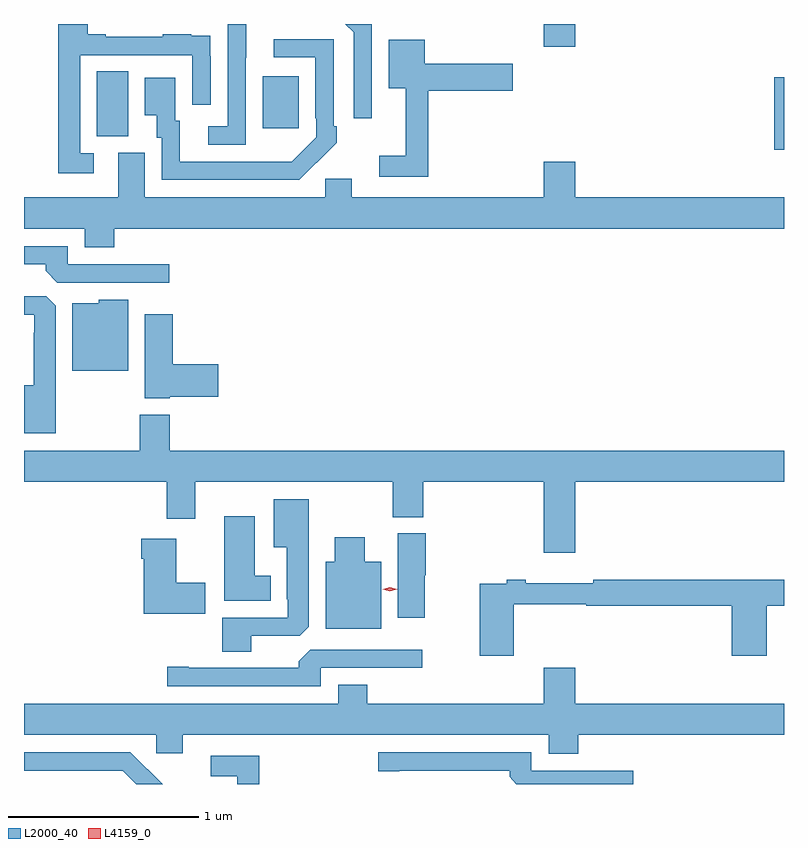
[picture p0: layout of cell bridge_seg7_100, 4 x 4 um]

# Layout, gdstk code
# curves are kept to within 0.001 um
import gdstk
lib = gdstk.Library(unit=1e-6, precision=1e-09)
def R(c, l, rs):  # rectangles x0, y0, x1, y1
    for r in rs: c.add(gdstk.rectangle(r[:2], r[2:], *l))
def P(c, l, *ps):  # polygons
    for p in ps: c.add(gdstk.Polygon(p, *l))
L2000_40 = (2000, 40)
L4159_0 = (4159, 0)

bridge_seg7_100 = lib.new_cell('bridge_seg7_100')
R(bridge_seg7_100, L2000_40, [(1089.296,1014.351,1089.348,1014.732), (1085.732,1014.421,1085.896,1014.764), (1086.605,1014.465,1086.793,1014.739), (1088.084,1014.894,1088.248,1015.013)])
P(bridge_seg7_100, L2000_40, [(1087.179,1015.011),(1087.177,1015.013),(1087.039,1015.013),(1087.083,1014.969),(1087.083,1014.516),(1087.179,1014.516)],
  [(1086.516,1014.835),(1086.517,1014.835),(1086.517,1015.013),(1086.42,1015.013),(1086.42,1014.474),(1086.318,1014.474),(1086.318,1014.378),(1086.516,1014.378)],
  [(1085.716,1014.333),(1085.643,1014.333),(1085.643,1014.849),(1086.234,1014.849),(1086.234,1014.588),(1086.33,1014.588),(1086.33,1014.842),(1086.329,1014.842),(1086.329,1014.951),(1086.227,1014.951),(1086.227,1014.958),(1086.079,1014.958),(1086.079,1014.945),(1085.779,1014.945),(1085.779,1014.958),(1085.683,1014.958),(1085.683,1015.013),(1085.527,1015.013),(1085.527,1014.228),(1085.716,1014.228)],
  [(1086.887,1014.283),(1086.888,1014.282),(1086.993,1014.387),(1086.993,1014.475),(1086.978,1014.475),(1086.978,1014.933),(1086.663,1014.933),(1086.663,1014.837),(1086.882,1014.837),(1086.882,1014.517),(1086.885,1014.517),(1086.885,1014.417),(1086.757,1014.289),(1086.169,1014.288),(1086.169,1014.504),(1086.145,1014.504),(1086.145,1014.73),(1085.984,1014.73),(1085.984,1014.533),(1086.047,1014.533),(1086.047,1014.414),(1086.072,1014.414),(1086.072,1014.192),(1086.796,1014.192)],
  [(1087.475,1014.662),(1087.921,1014.662),(1087.921,1014.804),(1087.456,1014.804),(1087.456,1014.931),(1087.268,1014.931),(1087.268,1014.674),(1087.358,1014.674),(1087.358,1014.319),(1087.218,1014.319),(1087.218,1014.21),(1087.475,1014.21)],
  [(1085.822,1013.936),(1089.348,1013.936),(1089.348,1014.1),(1088.248,1014.1),(1088.248,1014.289),(1088.084,1014.289),(1088.084,1014.1),(1087.072,1014.1),(1087.072,1014.198),(1086.933,1014.198),(1086.933,1014.1),(1085.983,1014.1),(1085.983,1014.336),(1085.843,1014.336),(1085.843,1014.1),(1085.348,1014.1),(1085.348,1013.936),(1085.669,1013.936),(1085.669,1013.837),(1085.822,1013.837)],
  [(1086.112,1013.748),(1085.577,1013.748),(1085.577,1013.844),(1085.348,1013.844),(1085.348,1013.748),(1085.462,1013.748),(1085.462,1013.714),(1085.523,1013.652),(1086.112,1013.652)],
  [(1085.515,1013.531),(1085.466,1013.58),(1085.348,1013.58),(1085.348,1013.484),(1085.403,1013.484),(1085.403,1013.387),(1085.399,1013.387),(1085.399,1013.113),(1085.348,1013.113),(1085.348,1012.859),(1085.515,1012.859)],
  [(1085.896,1013.563),(1085.742,1013.563),(1085.742,1013.542),(1085.603,1013.542),(1085.603,1013.189),(1085.896,1013.189)],
  [(1086.114,1013.051),(1086.37,1013.051),(1086.37,1013.222),(1086.131,1013.222),(1086.131,1013.485),(1085.984,1013.485),(1085.984,1013.042),(1086.114,1013.042)],
  [(1088.248,1012.604),(1089.348,1012.604),(1089.348,1012.768),(1086.116,1012.768),(1086.116,1012.957),(1085.956,1012.957),(1085.956,1012.768),(1085.348,1012.768),(1085.348,1012.604),(1086.098,1012.604),(1086.098,1012.41),(1086.25,1012.41),(1086.25,1012.604),(1087.288,1012.604),(1087.288,1012.417),(1087.448,1012.417),(1087.448,1012.604),(1088.084,1012.604),(1088.084,1012.23),(1088.248,1012.23)],
  [(1086.544,1011.792),(1086.798,1011.792),(1086.847,1011.841),(1086.847,1012.513),(1086.662,1012.513),(1086.662,1012.259),(1086.731,1012.259),(1086.731,1011.985),(1086.735,1011.985),(1086.735,1011.888),(1086.392,1011.888),(1086.392,1011.709),(1086.544,1011.709)],
  [(1086.646,1012.108),(1086.562,1012.108),(1086.562,1012.423),(1086.401,1012.423),(1086.401,1011.977),(1086.646,1011.977)],
  [(1087.458,1012.113),(1087.463,1012.113),(1087.463,1012.332),(1087.316,1012.332),(1087.316,1011.888),(1087.458,1011.888)],
  [(1087.228,1012.183),(1087.141,1012.183),(1087.141,1012.312),(1086.983,1012.312),(1086.983,1012.183),(1086.935,1012.183),(1086.935,1011.83),(1087.228,1011.83)],
  [(1086.301,1012.071),(1086.148,1012.071),(1086.148,1012.303),(1085.966,1012.303),(1085.966,1012.199),(1085.978,1012.199),(1085.978,1011.908),(1086.301,1011.908)],
  [(1087.925,1011.96),(1088.308,1011.96),(1088.308,1011.952),(1089.074,1011.952),(1089.074,1011.687),(1089.257,1011.687),(1089.257,1011.952),(1089.348,1011.952),(1089.348,1012.088),(1088.344,1012.088),(1088.344,1012.069),(1087.988,1012.069),(1087.988,1012.088),(1087.888,1012.088),(1087.888,1012.068),(1087.747,1012.068),(1087.747,1011.687),(1087.925,1011.687)],
  [(1086.909,1011.624),(1087.444,1011.624),(1087.444,1011.72),(1086.855,1011.72),(1086.794,1011.658),(1086.794,1011.624),(1086.214,1011.624),(1086.214,1011.629),(1086.102,1011.629),(1086.102,1011.528),(1086.909,1011.528)],
  [(1088.264,1011.272),(1089.348,1011.272),(1089.348,1011.436),(1088.248,1011.436),(1088.248,1011.625),(1088.084,1011.625),(1088.084,1011.436),(1087.154,1011.436),(1087.154,1011.535),(1087.001,1011.535),(1087.001,1011.436),(1085.348,1011.436),(1085.348,1011.272),(1086.045,1011.272),(1086.045,1011.174),(1086.184,1011.174),(1086.184,1011.272),(1088.111,1011.272),(1088.111,1011.173),(1088.264,1011.173)],
  [(1086,1011.09),(1085.999,1011.089),(1085.908,1011.18),(1085.348,1011.18),(1085.348,1011.084),(1085.869,1011.084),(1085.939,1011.013),(1086.077,1011.013)],
  [(1088.554,1011.084),(1088.019,1011.084),(1088.019,1011.18),(1087.212,1011.18),(1087.212,1011.079),(1087.324,1011.079),(1087.324,1011.084),(1087.904,1011.084),(1087.904,1011.05),(1087.94,1011.013),(1088.554,1011.013)],
  [(1086.587,1011.162),(1086.33,1011.162),(1086.33,1011.054),(1086.47,1011.054),(1086.47,1011.013),(1086.587,1011.013)])
P(bridge_seg7_100, L4159_0, [(1087.273,1012.028),(1087.235,1012.037),(1087.235,1012.038),(1087.235,1012.038),(1087.273,1012.048),(1087.312,1012.038),(1087.312,1012.038),(1087.312,1012.037)])

lib.write_gds('bridge_seg7_100.gds')
